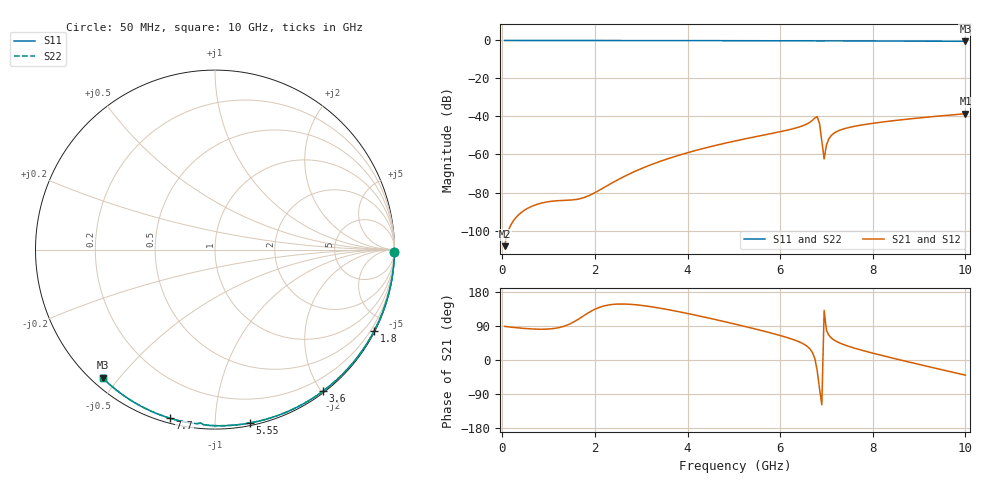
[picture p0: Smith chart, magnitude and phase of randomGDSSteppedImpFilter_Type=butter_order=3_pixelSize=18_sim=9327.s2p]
! freq	dB(S11)	phase(S11)	dB(S12)	phase(S12)
!  dB(S21)	phase(S21)	dB(S22)	phase(S22)
!S-par simulation data
#  GHz  S  DB  R 50
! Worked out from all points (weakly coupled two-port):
!   200 points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, 50 MHz to 10 GHz, reference 50 ohm
!   highest |S21| = -38.58 dB at 10 GHz (marker M1); lowest = -108.2 dB at 50 MHz (marker M2)
!   lowest |S11| = -0.4 dB at 10 GHz (marker M3), VSWR 38.99, Z = 1.55 - j22.6 ohm
!   |S11| at or under -10 dB: nowhere
!   |S22| runs from -0.4 to 0.0 dB; largest |S21 - S12| = 0
!   S11 on the Smith chart (normalised r, x): 50 MHz: open; 1.8 GHz: 0.04, -4.18; 3.6 GHz: 0.02, -2.02; 5.55 GHz: 0.02, -1.22; 7.7 GHz: 0.02, -0.77; 10 GHz: 0.03, -0.45
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0.05  -0.00 -0.8  -108.23 88.7  -108.23 88.7  -0.00 -0.8
1.75  -0.03 -26.2  -82.78 116.2  -82.78 116.2  -0.03 -26.2
1.8  -0.03 -26.9  -82.35 120.1  -82.35 120.1  -0.03 -26.9
2  -0.04 -29.8  -80.09 134.0  -80.09 134.0  -0.04 -29.8
2.75  -0.05 -40.7  -70.15 147.1  -70.15 147.1  -0.05 -40.7
3.4  -0.07 -49.8  -63.69 136.9  -63.69 136.9  -0.07 -49.8
3.6  -0.07 -52.6  -62.03 132.5  -62.03 132.5  -0.07 -52.6
5.05  -0.11 -72.1  -52.76 94.1  -52.76 94.1  -0.11 -72.1
5.55  -0.13 -78.6  -50.24 79.2  -50.24 79.2  -0.13 -78.6
6.4  -0.16 -89.4  -45.63 48.5  -45.63 48.5  -0.16 -89.4
6.6  -0.17 -91.9  -43.67 34.4  -43.67 34.4  -0.17 -91.9
6.7  -0.19 -93.2  -41.93 19.1  -41.93 19.1  -0.19 -93.2
6.8  -0.26 -94.5  -40.09 -28.0  -40.09 -28.0  -0.26 -94.5
6.85  -0.28 -94.7  -43.68 -75.6  -43.68 -75.6  -0.28 -94.7
6.95  -0.23 -95.8  -62.34 130.7  -62.34 130.7  -0.23 -95.8
7  -0.22 -96.4  -54.97 78.2  -54.97 78.2  -0.22 -96.4
7.05  -0.21 -97.1  -51.81 65.6  -51.81 65.6  -0.21 -97.1
7.1  -0.21 -97.7  -50.10 58.6  -50.10 58.6  -0.21 -97.7
7.3  -0.22 -100.1  -47.11 44.1  -47.11 44.1  -0.22 -100.1
7.7  -0.24 -104.9  -44.73 27.9  -44.73 27.9  -0.24 -104.9
8.35  -0.29 -112.5  -42.49 7.3  -42.49 7.3  -0.29 -112.5
10  -0.45 -131.3  -38.58 -40.0  -38.58 -40.0  -0.45 -131.3
